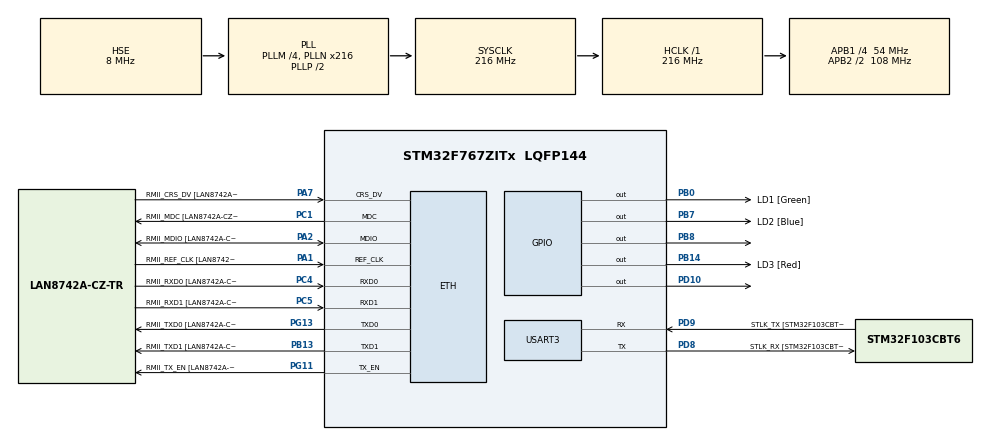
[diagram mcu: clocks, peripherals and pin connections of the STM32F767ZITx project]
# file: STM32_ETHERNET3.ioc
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ETH.MediaInterface=HAL_ETH_RMII_MODE
ETH.PHY_Name=LAN8742A_PHY_ADDRESS
ETH.PHY_Value=0
ETH.PhyAddress=0
FREERTOS.Tasks01=defaultTask,0,256,StartDefaultTask,Default,NULL,Dynamic,NULL,NULL
FREERTOS.configENABLE_FPU=1
FREERTOS.configTOTAL_HEAP_SIZE=32768
FREERTOS.configUSE_COUNTING_SEMAPHORES=1
FREERTOS.configUSE_NEWLIB_REENTRANT=1
LWIP.BSP.number=1
LWIP.IP_ADDRESS=192.168.000.025
LWIP.LWIP_DHCP=0
LWIP.NETMASK_ADDRESS=255.255.255.000
LWIP.Version=v2.1.2_Cube
LWIP0.BSP.STBoard=false
LWIP0.BSP.api=BSP_COMPONENT_DRIVER
LWIP0.BSP.component=LAN8742
LWIP0.BSP.instance=LAN8742
LWIP0.BSP.name=Driver_PHY
LWIP0.BSP.semaphore=S_LAN8742
LWIP0.BSP.solution=LAN8742
Mcu.Family=STM32F7
Mcu.Name=STM32F767ZITx
Mcu.Package=LQFP144
NVIC.ETH_IRQn=true\:5\:0\:false\:false\:true\:true\:false\:true\:true
NVIC.PriorityGroup=NVIC_PRIORITYGROUP_4
NVIC.TIM2_IRQn=true\:5\:0\:false\:false\:true\:true\:true\:true\:true
NVIC.TIM8_TRG_COM_TIM14_IRQn=true\:15\:0\:false\:false\:true\:false\:false\:true\:true
NVIC.TimeBase=TIM8_TRG_COM_TIM14_IRQn
NVIC.TimeBaseIP=TIM14
PA1.GPIO_Label=RMII_REF_CLK [LAN8742A-CZ-TR_REFCLK0]
PA1.Mode=RMII
PA1.Signal=ETH_REF_CLK
PA13.GPIO_Label=TMS
PA13.Mode=Serial_Wire
PA13.Signal=SYS_JTMS-SWDIO
PA14.GPIO_Label=TCK
PA14.Mode=Serial_Wire
PA14.Signal=SYS_JTCK-SWCLK
PA2.GPIO_Label=RMII_MDIO [LAN8742A-CZ-TR_MDIO]
PA2.Mode=RMII
PA2.Signal=ETH_MDIO
PA7.GPIO_Label=RMII_CRS_DV [LAN8742A-CZ-TR_CRS_DV]
PA7.Mode=RMII
PA7.Signal=ETH_CRS_DV
PB0.GPIO_Label=LD1 [Green]
PB0.Signal=GPIO_Output
PB13.GPIO_Label=RMII_TXD1 [LAN8742A-CZ-TR_TXD1]
PB13.Mode=RMII
PB13.Signal=ETH_TXD1
PB14.GPIO_Label=LD3 [Red]
PB14.Signal=GPIO_Output
PB7.GPIO_Label=LD2 [Blue]
PB7.Signal=GPIO_Output
PB8.Signal=GPIO_Output
PC1.GPIO_Label=RMII_MDC [LAN8742A-CZ-TR_MDC]
PC1.Mode=RMII
PC1.Signal=ETH_MDC
PC14/OSC32_IN.Mode=LSE-External-Oscillator
PC14/OSC32_IN.Signal=RCC_OSC32_IN
PC15/OSC32_OUT.Mode=LSE-External-Oscillator
PC15/OSC32_OUT.Signal=RCC_OSC32_OUT
PC4.GPIO_Label=RMII_RXD0 [LAN8742A-CZ-TR_RXD0]
PC4.Mode=RMII
PC4.Signal=ETH_RXD0
PC5.GPIO_Label=RMII_RXD1 [LAN8742A-CZ-TR_RXD1]
PC5.Mode=RMII
PC5.Signal=ETH_RXD1
PD10.GPIO_PuPd=GPIO_PULLDOWN
PD10.Signal=GPIO_Output
PD8.GPIO_Label=STLK_RX [STM32F103CBT6_PA3]
PD8.Mode=Asynchronous
PD8.Signal=USART3_TX
PD9.GPIO_Label=STLK_TX [STM32F103CBT6_PA2]
PD9.Mode=Asynchronous
PD9.Signal=USART3_RX
PG11.GPIO_Label=RMII_TX_EN [LAN8742A-CZ-TR_TXEN]
PG11.Mode=RMII
PG11.Signal=ETH_TX_EN
PG13.GPIO_Label=RMII_TXD0 [LAN8742A-CZ-TR_TXD0]
PG13.Mode=RMII
PG13.Signal=ETH_TXD0
PH0/OSC_IN.GPIO_Label=MCO [STM32F103CBT6_PA8]
PH0/OSC_IN.Mode=HSE-External-Clock-Source
PH0/OSC_IN.Signal=RCC_OSC_IN
PH1/OSC_OUT.Mode=HSE-External-Clock-Source
PH1/OSC_OUT.Signal=RCC_OSC_OUT
ProjectManager.HeapSize=0x200
ProjectManager.StackSize=0x400
ProjectManager.TargetToolchain=STM32CubeIDE
RCC.48MHZClocksFreq_Value=24000000
RCC.AHBFreq_Value=216000000
RCC.APB1CLKDivider=RCC_HCLK_DIV4
RCC.APB1Freq_Value=54000000
RCC.APB1TimFreq_Value=108000000
RCC.APB2CLKDivider=RCC_HCLK_DIV2
RCC.APB2Freq_Value=108000000
RCC.APB2TimFreq_Value=216000000
RCC.CortexFreq_Value=216000000
RCC.HCLKFreq_Value=216000000
RCC.HSE_VALUE=8000000
RCC.HSI_VALUE=16000000
RCC.PLLM=4
RCC.PLLMUL=RCC_PLL_MUL9
RCC.PLLN=216
RCC.PLLQ=4
RCC.PLLSourceVirtual=RCC_PLLSOURCE_HSE
RCC.PRESCALERUSB=RCC_USBCLKSOURCE_PLL_DIV1_5
RCC.SYSCLKFreq_VALUE=216000000
RCC.SYSCLKSource=RCC_SYSCLKSOURCE_PLLCLK
RCC.SYSCLKSourceVirtual=RCC_SYSCLKSOURCE_PLLCLK
RCC.USBFreq_Value=108000000
RCC.VCOOutputFreq_Value=432000000
TIM2.AutoReloadPreload=TIM_AUTORELOAD_PRELOAD_ENABLE
TIM2.Period=100
TIM2.Prescaler=21600
USART3.VirtualMode-Asynchronous=VM_ASYNC
VP_CRC_VS_CRC.Mode=CRC_Activate
VP_FREERTOS_VS_CMSIS_V1.Mode=CMSIS_V1
VP_LWIP_VS_Enabled.Mode=Enabled
VP_RTC_VS_RTC_Activate.Mode=RTC_Enabled
VP_SYS_VS_tim14.Mode=TIM14
VP_TIM2_VS_ClockSourceINT.Mode=Internal
board=NUCLEO-F767ZI

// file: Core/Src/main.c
/* USER CODE BEGIN Header */
/* This following is the setting for application. Keep the offset address at
 * #define VECT_TAB_OFFSET 0x00040000U
 * do the following changes in linker file for the app.
 * MEMORY
{
  RAM   (xrw) : ORIGIN = 0x20000000, LENGTH = 512K
  FLASH (rx)  : ORIGIN = 0x08040000, LENGTH = 2048K - 256K
}
 */
/**
  ******************************************************************************
  * @file           : main.c
  * @brief          : Main program body
  ******************************************************************************
  * @attention
  *
  * Copyright (c) 2025 STMicroelectronics.
  * All rights reserved.
  *
  * This software is licensed under terms that can be found in the LICENSE file
  * in the root directory of this software component.
  * If no LICENSE file comes with this software, it is provided AS-IS.
  *
  ******************************************************************************
  */
/* USER CODE END Header */
#include "main.h"
#include "cmsis_os.h"
#include "crc.h"
#include "lwip.h"
#include "rtc.h"
#include "tim.h"
#include "usart.h"
#include "gpio.h"

/* USER CODE BEGIN Includes */
#include "tcpServerRAW.h"
#include "stdbool.h"
#include "etx_ota_update.h"
#include <string.h>

/* USER CODE END Includes */

/* USER CODE BEGIN PV */
uint8_t updateComplete = 0;
extern struct netif gnetif;
/* USER CODE END PV */

void SystemClock_Config(void);
void MX_FREERTOS_Init(void);

int main(void)
{

  /* MCU Configuration--------------------------------------------------------*/

  /* Reset of all peripherals, Initializes the Flash interface and the Systick. */
  HAL_Init();

  /* Configure the system clock */
  SystemClock_Config();

  /* Initialize all configured peripherals */
  MX_GPIO_Init();
  MX_USART3_UART_Init();
  MX_CRC_Init();
  MX_TIM2_Init();
  MX_RTC_Init();
  /* USER CODE BEGIN 2 */
//  HAL_TIM_Base_Start_IT(&htim2);
  HAL_Delay(400);
//  goto_application(); // comment this if you want the bootloader to not load the app.
  /* USER CODE END 2 */

  /* Call init function for freertos objects (in cmsis_os2.c) */
  MX_FREERTOS_Init();

  /* Start scheduler */
  osKernelStart();

  /* We should never get here as control is now taken by the scheduler */

  /* Infinite loop */
  /* USER CODE BEGIN WHILE */
  while (1)
  {
//	  MX_LWIP_Process();
//	  if (updateComplete == 1)
//	  {
//		  load_new_app();
//		  goto_application();
//	  }
    /* USER CODE END WHILE */

  }
}

void SystemClock_Config(void)
{
  RCC_OscInitTypeDef RCC_OscInitStruct = {0};
  RCC_ClkInitTypeDef RCC_ClkInitStruct = {0};

  /** Configure LSE Drive Capability
  */
  HAL_PWR_EnableBkUpAccess();

  /** Configure the main internal regulator output voltage
  */
  __HAL_RCC_PWR_CLK_ENABLE();
  __HAL_PWR_VOLTAGESCALING_CONFIG(PWR_REGULATOR_VOLTAGE_SCALE1);

  /** Initializes the RCC Oscillators according to the specified parameters
  * in the RCC_OscInitTypeDef structure.
  */
  RCC_OscInitStruct.OscillatorType = RCC_OSCILLATORTYPE_LSI|RCC_OSCILLATORTYPE_HSE;
  RCC_OscInitStruct.HSEState = RCC_HSE_BYPASS;
  RCC_OscInitStruct.LSIState = RCC_LSI_ON;
  RCC_OscInitStruct.PLL.PLLState = RCC_PLL_ON;
  RCC_OscInitStruct.PLL.PLLSource = RCC_PLLSOURCE_HSE;
  RCC_OscInitStruct.PLL.PLLM = 4;
  RCC_OscInitStruct.PLL.PLLN = 216;
  RCC_OscInitStruct.PLL.PLLP = RCC_PLLP_DIV2;
  RCC_OscInitStruct.PLL.PLLQ = 4;
  RCC_OscInitStruct.PLL.PLLR = 2;
  if (HAL_RCC_OscConfig(&RCC_OscInitStruct) != HAL_OK)
  {
    Error_Handler();
  }

  /** Activate the Over-Drive mode
  */
  if (HAL_PWREx_EnableOverDrive() != HAL_OK)
  {
    Error_Handler();
  }

  /** Initializes the CPU, AHB and APB buses clocks
  */
  RCC_ClkInitStruct.ClockType = RCC_CLOCKTYPE_HCLK|RCC_CLOCKTYPE_SYSCLK
                              |RCC_CLOCKTYPE_PCLK1|RCC_CLOCKTYPE_PCLK2;
  RCC_ClkInitStruct.SYSCLKSource = RCC_SYSCLKSOURCE_PLLCLK;
  RCC_ClkInitStruct.AHBCLKDivider = RCC_SYSCLK_DIV1;
  RCC_ClkInitStruct.APB1CLKDivider = RCC_HCLK_DIV4;
  RCC_ClkInitStruct.APB2CLKDivider = RCC_HCLK_DIV2;

  if (HAL_RCC_ClockConfig(&RCC_ClkInitStruct, FLASH_LATENCY_7) != HAL_OK)
  {
    Error_Handler();
  }
}

/* USER CODE BEGIN 4 */

//void HAL_TIM_PeriodElapsedCallback(TIM_HandleTypeDef *htim)
//{
//	HAL_GPIO_TogglePin(GPIOB, LD1_Pin|LD3_Pin|LD2_Pin);
//}
/* USER CODE END 4 */

void HAL_TIM_PeriodElapsedCallback(TIM_HandleTypeDef *htim)
{
  if (htim->Instance == TIM14)
  {
    HAL_IncTick();
  }
}

void Error_Handler(void)
{
  __disable_irq();
  while (1)
  {
  }
}

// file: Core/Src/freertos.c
/* USER CODE BEGIN Header */
/**
  ******************************************************************************
  * File Name          : freertos.c
  * Description        : Code for freertos applications
  ******************************************************************************
  * @attention
  *
  * Copyright (c) 2026 STMicroelectronics.
  * All rights reserved.
  *
  * This software is licensed under terms that can be found in the LICENSE file
  * in the root directory of this software component.
  * If no LICENSE file comes with this software, it is provided AS-IS.
  *
  ******************************************************************************
  */
/* USER CODE END Header */

#include "FreeRTOS.h"
#include "task.h"
#include "main.h"
#include "cmsis_os.h"

/* USER CODE BEGIN Includes */
#include "tcpServerRAW.h"
#include "etx_ota_update.h"
#include "bl_flag.h"
//extern osSemaphoreId tcpReadySem;
/* USER CODE END Includes */

osThreadId defaultTaskHandle;

void StartDefaultTask(void const * argument);

extern void MX_LWIP_Init(void);
void MX_FREERTOS_Init(void); /* (MISRA C 2004 rule 8.1) */

/* GetIdleTaskMemory prototype (linked to static allocation support) */
void vApplicationGetIdleTaskMemory( StaticTask_t **ppxIdleTaskTCBBuffer, StackType_t **ppxIdleTaskStackBuffer, uint32_t *pulIdleTaskStackSize );

/* USER CODE BEGIN GET_IDLE_TASK_MEMORY */
static StaticTask_t xIdleTaskTCBBuffer;
static StackType_t xIdleStack[configMINIMAL_STACK_SIZE];

void vApplicationGetIdleTaskMemory( StaticTask_t **ppxIdleTaskTCBBuffer, StackType_t **ppxIdleTaskStackBuffer, uint32_t *pulIdleTaskStackSize )
{
  *ppxIdleTaskTCBBuffer = &xIdleTaskTCBBuffer;
  *ppxIdleTaskStackBuffer = &xIdleStack[0];
  *pulIdleTaskStackSize = configMINIMAL_STACK_SIZE;
  /* place for user code */
}
/* USER CODE END GET_IDLE_TASK_MEMORY */

void MX_FREERTOS_Init(void) {

  /* Create the thread(s) */
  /* definition and creation of defaultTask */
  osThreadDef(defaultTask, StartDefaultTask, osPriorityNormal, 0, 256);
  defaultTaskHandle = osThreadCreate(osThread(defaultTask), NULL);

}

void StartDefaultTask(void const * argument)
{
  /* init code for LWIP */

  MX_LWIP_Init();

  /* USER CODE BEGIN StartDefaultTask */
  etx_ota_worker_start();
  osSemaphoreDef(TCP_READY_SEM);
  tcpReadySem = osSemaphoreCreate(osSemaphore(TCP_READY_SEM), 1);
  osSemaphoreWait(tcpReadySem, 0);
  tcp_server_init();
  if (tcpReadySem == NULL)
  {
  	OTA_LOGF("Semaphore did not create..\r\n");
      Error_Handler();
  }
  osSemaphoreWait(tcpReadySem, osWaitForever);

  int flag = 0;
  while (BL_Flag_IsOtaRequested(&hrtc))
  {
	  if (flag == 0)
	  {
		  bl_send_text_2000_from_task("Waiting for bin file. \r\n");
		  flag = 1;
	  }

	  osDelay(200);
  }
  bl_send_text_2000_from_task("Jumping to the main application... \r\n");
  osDelay(200);
  goto_application();
  /* Infinite loop */
  for(;;)
  {
    osDelay(1);
  }
  /* USER CODE END StartDefaultTask */
}
